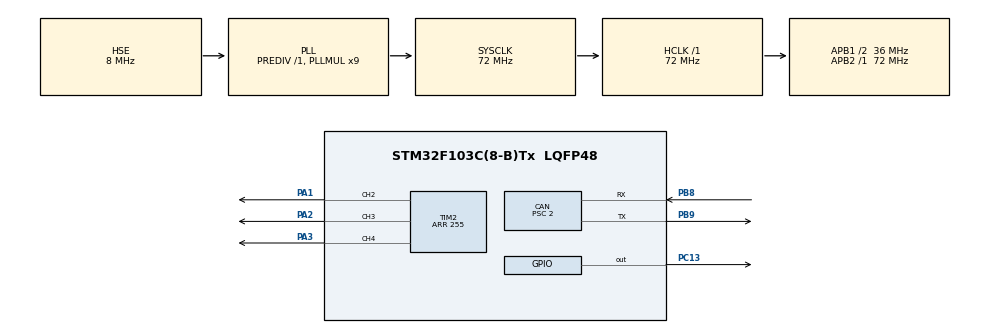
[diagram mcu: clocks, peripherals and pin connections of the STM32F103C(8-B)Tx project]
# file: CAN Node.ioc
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CAN.BS1=CAN_BS1_12TQ
CAN.BS2=CAN_BS2_5TQ
CAN.CalculateBaudRate=1000000
CAN.CalculateTimeBit=1000
CAN.CalculateTimeQuantum=55.55555555555556
CAN.Prescaler=2
Mcu.Family=STM32F1
Mcu.Name=STM32F103C(8-B)Tx
Mcu.Package=LQFP48
NVIC.PriorityGroup=NVIC_PRIORITYGROUP_4
NVIC.TIM1_UP_IRQn=true\:15\:0\:false\:false\:true\:false\:true\:true
NVIC.TimeBase=TIM1_UP_IRQn
NVIC.TimeBaseIP=TIM1
PA1.Signal=S_TIM2_CH2
PA2.Signal=S_TIM2_CH3
PA3.Signal=S_TIM2_CH4
PB8.Mode=CAN_Activate
PB8.Signal=CAN_RX
PB9.Mode=CAN_Activate
PB9.Signal=CAN_TX
PC13-TAMPER-RTC.Signal=GPIO_Output
PD0-OSC_IN.Mode=HSE-External-Oscillator
PD0-OSC_IN.Signal=RCC_OSC_IN
PD1-OSC_OUT.Mode=HSE-External-Oscillator
PD1-OSC_OUT.Signal=RCC_OSC_OUT
ProjectManager.HeapSize=0x200
ProjectManager.StackSize=0x400
ProjectManager.TargetToolchain=STM32CubeIDE
RCC.AHBFreq_Value=72000000
RCC.APB1CLKDivider=RCC_HCLK_DIV2
RCC.APB1Freq_Value=36000000
RCC.APB1TimFreq_Value=72000000
RCC.APB2Freq_Value=72000000
RCC.APB2TimFreq_Value=72000000
RCC.HCLKFreq_Value=72000000
RCC.PLLMUL=RCC_PLL_MUL9
RCC.PLLSourceVirtual=RCC_PLLSOURCE_HSE
RCC.SYSCLKFreq_VALUE=72000000
RCC.SYSCLKSource=RCC_SYSCLKSOURCE_PLLCLK
RCC.USBFreq_Value=72000000
SH.S_TIM2_CH2.0=TIM2_CH2,PWM Generation2 CH2
SH.S_TIM2_CH3.0=TIM2_CH3,PWM Generation3 CH3
SH.S_TIM2_CH4.0=TIM2_CH4,PWM Generation4 CH4
TIM2.Channel-PWM\ Generation2\ CH2=TIM_CHANNEL_2
TIM2.Channel-PWM\ Generation3\ CH3=TIM_CHANNEL_3
TIM2.Channel-PWM\ Generation4\ CH4=TIM_CHANNEL_4
TIM2.Period=255
VP_SYS_VS_ND.Mode=No_Debug
VP_SYS_VS_tim1.Mode=TIM1
VP_TIM2_VS_ClockSourceINT.Mode=Internal
board=custom

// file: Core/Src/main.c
/* USER CODE BEGIN Header */
/**
  ******************************************************************************
  * @file           : main.c
  * @brief          : Main program body
  ******************************************************************************
  * @attention
  *
  * Copyright (c) 2025 STMicroelectronics.
  * All rights reserved.
  *
  * This software is licensed under terms that can be found in the LICENSE file
  * in the root directory of this software component.
  * If no LICENSE file comes with this software, it is provided AS-IS.
  *
  ******************************************************************************
  */
/* USER CODE END Header */
#include "main.h"

/* USER CODE BEGIN Includes */
#include "stdlib.h"
#include "can.h"
/* USER CODE END Includes */

CAN_HandleTypeDef hcan;

TIM_HandleTypeDef htim2;

void SystemClock_Config(void);
static void MX_GPIO_Init(void);
static void MX_CAN_Init(void);
static void MX_TIM2_Init(void);
/* USER CODE BEGIN PFP */
void ledRGB(uint8_t red, uint8_t green, uint8_t blue);
void ledRGBB(uint8_t red, uint8_t green, uint8_t blue, uint8_t brightness);
int randIntInRange(int min, int max);
/* USER CODE END PFP */

int main(void)
{

  /* MCU Configuration--------------------------------------------------------*/

  /* Reset of all peripherals, Initializes the Flash interface and the Systick. */
  HAL_Init();

  /* Configure the system clock */
  SystemClock_Config();

  /* Initialize all configured peripherals */
  MX_GPIO_Init();
  MX_CAN_Init();
  MX_TIM2_Init();
  /* USER CODE BEGIN 2 */
  if (CANinit(hcan)) {
	  ledRGBB(ColorSpringGreen, 51); // Green at start for loopback
	  HAL_Delay(1000);
	  ledRGB(ColorBlack); // Off
  } else {
	  ledRGBB(ColorMagenta, 51); // Magenta at start for failed init. Probably loopback.
	  HAL_Delay(1000);
	  ledRGB(ColorBlack); // Off
  }
  // RBG Led Channels.
  HAL_TIM_PWM_Start(&htim2, TIM_CHANNEL_2);
  HAL_TIM_PWM_Start(&htim2, TIM_CHANNEL_3);
  HAL_TIM_PWM_Start(&htim2, TIM_CHANNEL_4);

  /* USER CODE END 2 */

  /* Infinite loop */
  /* USER CODE BEGIN WHILE */
  while (1) {
	  // If any message received tell me and pause loop,
	  if (CANMessageRecieved()) {
		  ledRGBB(ColorOrange, 51); // Orange for Rx
		  HAL_Delay(1000);
		  ledRGB(ColorBlack); // Off
	  }

	  if (CANok()) {
		  ledRGBB(ColorTurquoise, 51); // Turquoise for CAN ok.
		  HAL_Delay(1000);
		  ledRGB(ColorBlack); // Off
	  } else {
		  ledRGBB(ColorMagenta, 51); // Magenta for CAN not ok.
		  HAL_Delay(1000);
		  ledRGB(ColorBlack); // Off
	  }

	  // Now we attempt a Tx
	  if (CANSendSensor(&hcan, 67)!= HAL_OK) {
		  ledRGBB(ColorRed, 51); // Red for failed Tx
		  HAL_Delay(1000);
		  ledRGB(ColorBlack); // Off
	  } else {
		  ledRGBB(ColorGreen, 51); // Green for passed Tx
		  HAL_Delay(1000);
		  ledRGB(ColorBlack); // Off
	  }

      HAL_Delay(500); // Half second for an uninterrupted loop.
      HAL_GPIO_TogglePin(LED_BUILTIN); // Flash in-built led once every loop.
      CANClearErrors(&hcan);
    /* USER CODE END WHILE */

  }
}

void SystemClock_Config(void)
{
  RCC_OscInitTypeDef RCC_OscInitStruct = {0};
  RCC_ClkInitTypeDef RCC_ClkInitStruct = {0};

  /** Initializes the RCC Oscillators according to the specified parameters
  * in the RCC_OscInitTypeDef structure.
  */
  RCC_OscInitStruct.OscillatorType = RCC_OSCILLATORTYPE_HSE;
  RCC_OscInitStruct.HSEState = RCC_HSE_ON;
  RCC_OscInitStruct.HSEPredivValue = RCC_HSE_PREDIV_DIV1;
  RCC_OscInitStruct.HSIState = RCC_HSI_ON;
  RCC_OscInitStruct.PLL.PLLState = RCC_PLL_ON;
  RCC_OscInitStruct.PLL.PLLSource = RCC_PLLSOURCE_HSE;
  RCC_OscInitStruct.PLL.PLLMUL = RCC_PLL_MUL9;
  if (HAL_RCC_OscConfig(&RCC_OscInitStruct) != HAL_OK)
  {
    Error_Handler();
  }

  /** Initializes the CPU, AHB and APB buses clocks
  */
  RCC_ClkInitStruct.ClockType = RCC_CLOCKTYPE_HCLK|RCC_CLOCKTYPE_SYSCLK
                              |RCC_CLOCKTYPE_PCLK1|RCC_CLOCKTYPE_PCLK2;
  RCC_ClkInitStruct.SYSCLKSource = RCC_SYSCLKSOURCE_PLLCLK;
  RCC_ClkInitStruct.AHBCLKDivider = RCC_SYSCLK_DIV1;
  RCC_ClkInitStruct.APB1CLKDivider = RCC_HCLK_DIV2;
  RCC_ClkInitStruct.APB2CLKDivider = RCC_HCLK_DIV1;

  if (HAL_RCC_ClockConfig(&RCC_ClkInitStruct, FLASH_LATENCY_2) != HAL_OK)
  {
    Error_Handler();
  }
}

static void MX_CAN_Init(void)
{

  hcan.Instance = CAN1;
  hcan.Init.Prescaler = 2;
  hcan.Init.Mode = CAN_MODE_NORMAL;
  hcan.Init.SyncJumpWidth = CAN_SJW_1TQ;
  hcan.Init.TimeSeg1 = CAN_BS1_12TQ;
  hcan.Init.TimeSeg2 = CAN_BS2_5TQ;
  hcan.Init.TimeTriggeredMode = DISABLE;
  hcan.Init.AutoBusOff = DISABLE;
  hcan.Init.AutoWakeUp = DISABLE;
  hcan.Init.AutoRetransmission = DISABLE;
  hcan.Init.ReceiveFifoLocked = DISABLE;
  hcan.Init.TransmitFifoPriority = DISABLE;
  if (HAL_CAN_Init(&hcan) != HAL_OK)
  {
    Error_Handler();
  }

}

static void MX_TIM2_Init(void)
{

  TIM_ClockConfigTypeDef sClockSourceConfig = {0};
  TIM_MasterConfigTypeDef sMasterConfig = {0};
  TIM_OC_InitTypeDef sConfigOC = {0};

  htim2.Instance = TIM2;
  htim2.Init.Prescaler = 0;
  htim2.Init.CounterMode = TIM_COUNTERMODE_UP;
  htim2.Init.Period = 255;
  htim2.Init.ClockDivision = TIM_CLOCKDIVISION_DIV1;
  htim2.Init.AutoReloadPreload = TIM_AUTORELOAD_PRELOAD_DISABLE;
  if (HAL_TIM_Base_Init(&htim2) != HAL_OK)
  {
    Error_Handler();
  }
  sClockSourceConfig.ClockSource = TIM_CLOCKSOURCE_INTERNAL;
  if (HAL_TIM_ConfigClockSource(&htim2, &sClockSourceConfig) != HAL_OK)
  {
    Error_Handler();
  }
  if (HAL_TIM_PWM_Init(&htim2) != HAL_OK)
  {
    Error_Handler();
  }
  sMasterConfig.MasterOutputTrigger = TIM_TRGO_RESET;
  sMasterConfig.MasterSlaveMode = TIM_MASTERSLAVEMODE_DISABLE;
  if (HAL_TIMEx_MasterConfigSynchronization(&htim2, &sMasterConfig) != HAL_OK)
  {
    Error_Handler();
  }
  sConfigOC.OCMode = TIM_OCMODE_PWM1;
  sConfigOC.Pulse = 0;
  sConfigOC.OCPolarity = TIM_OCPOLARITY_HIGH;
  sConfigOC.OCFastMode = TIM_OCFAST_DISABLE;
  if (HAL_TIM_PWM_ConfigChannel(&htim2, &sConfigOC, TIM_CHANNEL_2) != HAL_OK)
  {
    Error_Handler();
  }
  if (HAL_TIM_PWM_ConfigChannel(&htim2, &sConfigOC, TIM_CHANNEL_3) != HAL_OK)
  {
    Error_Handler();
  }
  if (HAL_TIM_PWM_ConfigChannel(&htim2, &sConfigOC, TIM_CHANNEL_4) != HAL_OK)
  {
    Error_Handler();
  }
  HAL_TIM_MspPostInit(&htim2);

}

static void MX_GPIO_Init(void)
{
  GPIO_InitTypeDef GPIO_InitStruct = {0};

  /* GPIO Ports Clock Enable */
  __HAL_RCC_GPIOC_CLK_ENABLE();
  __HAL_RCC_GPIOD_CLK_ENABLE();
  __HAL_RCC_GPIOA_CLK_ENABLE();
  __HAL_RCC_GPIOB_CLK_ENABLE();

  /*Configure GPIO pin Output Level */
  HAL_GPIO_WritePin(GPIOC, GPIO_PIN_13, GPIO_PIN_RESET);

  /*Configure GPIO pin : PC13 */
  GPIO_InitStruct.Pin = GPIO_PIN_13;
  GPIO_InitStruct.Mode = GPIO_MODE_OUTPUT_PP;
  GPIO_InitStruct.Pull = GPIO_NOPULL;
  GPIO_InitStruct.Speed = GPIO_SPEED_FREQ_LOW;
  HAL_GPIO_Init(GPIOC, &GPIO_InitStruct);

}

/* USER CODE BEGIN 4 */

int randIntInRange(int min, int max) {
	return (rand() % (max - min + 1)) + min;
}

void ledRGB(uint8_t red, uint8_t green, uint8_t blue) {
	htim2.Instance->CCR2 = red;
	htim2.Instance->CCR3 = green;
	htim2.Instance->CCR4 = blue;
}

void ledRGBB(uint8_t red, uint8_t green, uint8_t blue, uint8_t brightness) {
	double factor = (double)(brightness) / 255;
	htim2.Instance->CCR2 = red * factor;
	htim2.Instance->CCR3 = green * factor;
	htim2.Instance->CCR4 = blue * factor;
}
/* USER CODE END 4 */

void HAL_TIM_PeriodElapsedCallback(TIM_HandleTypeDef *htim)
{
  if (htim->Instance == TIM1)
  {
    HAL_IncTick();
  }
}

void Error_Handler(void)
{
  __disable_irq();
  while (1)
  {
  }
}
